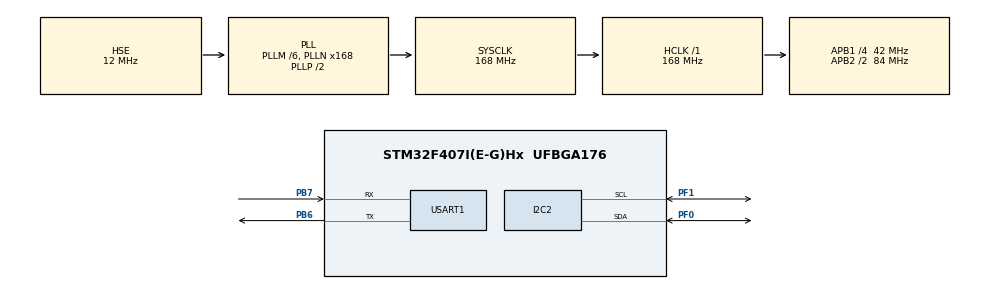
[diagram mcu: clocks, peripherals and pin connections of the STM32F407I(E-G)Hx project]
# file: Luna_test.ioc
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I2C2.I2C_Mode=I2C_Fast
Mcu.Family=STM32F4
Mcu.Name=STM32F407I(E-G)Hx
Mcu.Package=UFBGA176
NVIC.PriorityGroup=NVIC_PRIORITYGROUP_4
PA13.Mode=Serial_Wire
PA13.Signal=SYS_JTMS-SWDIO
PA14.Mode=Serial_Wire
PA14.Signal=SYS_JTCK-SWCLK
PB6.Mode=Asynchronous
PB6.Signal=USART1_TX
PB7.Mode=Asynchronous
PB7.Signal=USART1_RX
PF0.Mode=I2C
PF0.Signal=I2C2_SDA
PF1.Mode=I2C
PF1.Signal=I2C2_SCL
PH0-OSC_IN.Mode=HSE-External-Oscillator
PH0-OSC_IN.Signal=RCC_OSC_IN
PH1-OSC_OUT.Mode=HSE-External-Oscillator
PH1-OSC_OUT.Signal=RCC_OSC_OUT
ProjectManager.HeapSize=0x200
ProjectManager.StackSize=0x400
ProjectManager.TargetToolchain=MDK-ARM V5.32
RCC.48MHZClocksFreq_Value=84000000
RCC.AHBFreq_Value=168000000
RCC.APB1CLKDivider=RCC_HCLK_DIV4
RCC.APB1Freq_Value=42000000
RCC.APB1TimFreq_Value=84000000
RCC.APB2CLKDivider=RCC_HCLK_DIV2
RCC.APB2Freq_Value=84000000
RCC.APB2TimFreq_Value=168000000
RCC.CortexFreq_Value=168000000
RCC.HCLKFreq_Value=168000000
RCC.HSE_VALUE=12000000
RCC.HSI_VALUE=16000000
RCC.LSE_VALUE=32768
RCC.PLLM=6
RCC.PLLN=168
RCC.PLLSourceVirtual=RCC_PLLSOURCE_HSE
RCC.SYSCLKFreq_VALUE=168000000
RCC.SYSCLKSource=RCC_SYSCLKSOURCE_PLLCLK
RCC.VCOOutputFreq_Value=336000000
USART1.VirtualMode=VM_ASYNC
board=custom

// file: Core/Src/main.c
/* USER CODE BEGIN Header */
/**
  ******************************************************************************
  * @file           : main.c
  * @brief          : Main program body
  ******************************************************************************
  * @attention
  *
  * <h2><center>&copy; Copyright (c) 2022 STMicroelectronics.
  * All rights reserved.</center></h2>
  *
  * This software component is licensed by ST under BSD 3-Clause license,
  * the "License"; You may not use this file except in compliance with the
  * License. You may obtain a copy of the License at:
  *                        opensource.org/licenses/BSD-3-Clause
  *
  ******************************************************************************
  */
/* USER CODE END Header */
#include "main.h"
#include "i2c.h"
#include "usart.h"
#include "gpio.h"

/* USER CODE BEGIN Includes */
#include "tfluna_i2c.h"
#include "stdio.h"
/* USER CODE END Includes */

/* USER CODE BEGIN PTD */
TF_Luna_Lidar TF_Luna_1;
TF_Luna_Lidar TF_Luna_2;
int16_t  tfAddr = TFL_DEF_ADR;    // default I2C address = 0x10 (7 bit)
uint16_t tfFrame = TFL_DEF_FPS;   // default frame rate
// device variables passed back by getData
int16_t  tfDist = 0 ;   // distance in centimeters
int16_t  tfFlux = 0 ;   // signal quality in arbitrary units
int16_t  tfTemp = 0 ;   // temperature in 0.01 degree Celsius
int16_t  tfDistw = 0 ;   // distance in centimeters
int16_t  tfFluxw = 0 ;   // signal quality in arbitrary units
int16_t  tfTempw = 0 ;   // temperature in 0.01 degree Celsius
// other device variables
uint16_t tfTime = 0;    // devie clock in milliseconds
uint8_t  tfVer[3];      // device version number
uint8_t  tfCode[14];    // device serial number
// sub-loop counter for Time display
uint8_t tfCount = 0;
/* USER CODE END PTD */

void SystemClock_Config(void);

int main(void)
{

  /* MCU Configuration--------------------------------------------------------*/

  /* Reset of all peripherals, Initializes the Flash interface and the Systick. */
  HAL_Init();

  /* Configure the system clock */
  SystemClock_Config();

  /* Initialize all configured peripherals */
  MX_GPIO_Init();
  MX_I2C2_Init();
  MX_USART1_UART_Init();
  /* USER CODE BEGIN 2 */
	TF_Luna_init(&TF_Luna_1, &hi2c2, 0x20); //0x10->7bit. 7bit Slave address has been already shifting to the left in the library.
  TF_Luna_init(&TF_Luna_2, &hi2c2, 0x10);
  /* USER CODE END 2 */

  /* Infinite loop */
  while (1)
  {

    /* USER CODE BEGIN 3 */
		getData(&TF_Luna_1, &tfDist, &tfFlux, &tfTemp);
		getData(&TF_Luna_2, &tfDistw, &tfFluxw, &tfTempw);
    printf("dist = %d dist2 = %d\n",tfDist, tfDistw);
    HAL_Delay(4); // 250Hz
  }
  /* USER CODE END 3 */
}

void SystemClock_Config(void)
{
  RCC_OscInitTypeDef RCC_OscInitStruct = {0};
  RCC_ClkInitTypeDef RCC_ClkInitStruct = {0};

  /** Configure the main internal regulator output voltage
  */
  __HAL_RCC_PWR_CLK_ENABLE();
  __HAL_PWR_VOLTAGESCALING_CONFIG(PWR_REGULATOR_VOLTAGE_SCALE1);
  /** Initializes the RCC Oscillators according to the specified parameters
  * in the RCC_OscInitTypeDef structure.
  */
  RCC_OscInitStruct.OscillatorType = RCC_OSCILLATORTYPE_HSE;
  RCC_OscInitStruct.HSEState = RCC_HSE_ON;
  RCC_OscInitStruct.PLL.PLLState = RCC_PLL_ON;
  RCC_OscInitStruct.PLL.PLLSource = RCC_PLLSOURCE_HSE;
  RCC_OscInitStruct.PLL.PLLM = 6;
  RCC_OscInitStruct.PLL.PLLN = 168;
  RCC_OscInitStruct.PLL.PLLP = RCC_PLLP_DIV2;
  RCC_OscInitStruct.PLL.PLLQ = 4;
  if (HAL_RCC_OscConfig(&RCC_OscInitStruct) != HAL_OK)
  {
    Error_Handler();
  }
  /** Initializes the CPU, AHB and APB buses clocks
  */
  RCC_ClkInitStruct.ClockType = RCC_CLOCKTYPE_HCLK|RCC_CLOCKTYPE_SYSCLK
                              |RCC_CLOCKTYPE_PCLK1|RCC_CLOCKTYPE_PCLK2;
  RCC_ClkInitStruct.SYSCLKSource = RCC_SYSCLKSOURCE_PLLCLK;
  RCC_ClkInitStruct.AHBCLKDivider = RCC_SYSCLK_DIV1;
  RCC_ClkInitStruct.APB1CLKDivider = RCC_HCLK_DIV4;
  RCC_ClkInitStruct.APB2CLKDivider = RCC_HCLK_DIV2;

  if (HAL_RCC_ClockConfig(&RCC_ClkInitStruct, FLASH_LATENCY_5) != HAL_OK)
  {
    Error_Handler();
  }
}

/* USER CODE BEGIN 4 */
int fputc(int ch, FILE *f)
{
  HAL_UART_Transmit(&huart1, (uint8_t *)&ch, sizeof(ch), 0xffff);
  return ch;
}
/* USER CODE END 4 */

void Error_Handler(void)
{
  __disable_irq();
  while (1)
  {
  }
}

/************************ (C) COPYRIGHT STMicroelectronics *****END OF FILE****/
